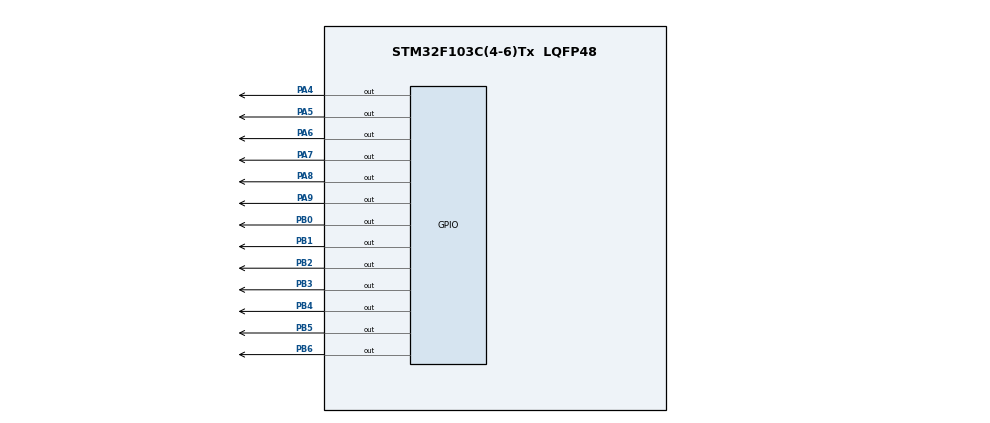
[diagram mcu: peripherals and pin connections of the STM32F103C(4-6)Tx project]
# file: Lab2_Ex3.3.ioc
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Mcu.Family=STM32F1
Mcu.Name=STM32F103C(4-6)Tx
Mcu.Package=LQFP48
NVIC.PriorityGroup=NVIC_PRIORITYGROUP_4
NVIC.TIM2_IRQn=true\:0\:0\:false\:false\:true\:true\:true
PA4.Signal=GPIO_Output
PA5.Signal=GPIO_Output
PA6.Signal=GPIO_Output
PA7.Signal=GPIO_Output
PA8.Signal=GPIO_Output
PA9.Signal=GPIO_Output
PB0.Signal=GPIO_Output
PB1.Signal=GPIO_Output
PB2.Signal=GPIO_Output
PB3.Signal=GPIO_Output
PB4.Signal=GPIO_Output
PB5.Signal=GPIO_Output
PB6.Signal=GPIO_Output
PD0-OSC_IN.Mode=HSE-External-Oscillator
PD0-OSC_IN.Signal=RCC_OSC_IN
PD1-OSC_OUT.Mode=HSE-External-Oscillator
PD1-OSC_OUT.Signal=RCC_OSC_OUT
ProjectManager.HeapSize=0x200
ProjectManager.StackSize=0x400
ProjectManager.TargetToolchain=STM32CubeIDE
RCC.APB1Freq_Value=8000000
RCC.APB2Freq_Value=8000000
TIM2.Period=9
TIM2.Prescaler=7999
VP_SYS_VS_ND.Mode=No_Debug
VP_TIM2_VS_ClockSourceINT.Mode=Internal
board=custom

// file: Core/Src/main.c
/* USER CODE BEGIN Header */
/**
  ******************************************************************************
  * @file           : main.c
  * @brief          : Main program body
  ******************************************************************************
  * @attention
  *
  * <h2><center>&copy; Copyright (c) 2021 STMicroelectronics.
  * All rights reserved.</center></h2>
  *
  * This software component is licensed by ST under BSD 3-Clause license,
  * the "License"; You may not use this file except in compliance with the
  * License. You may obtain a copy of the License at:
  *                        opensource.org/licenses/BSD-3-Clause
  *
  ******************************************************************************
  */
/* USER CODE END Header */
#include "main.h"

TIM_HandleTypeDef htim2;

void SystemClock_Config(void);
static void MX_GPIO_Init(void);
static void MX_TIM2_Init(void);

/* USER CODE BEGIN 0 */
uint8_t nums[10] = {0x01, 0x4F, 0x12, 0x06, 0x4C, 0x24, 0x20, 0x0F, 0x00, 0x04};

void display7SEG(uint8_t num) {
	HAL_GPIO_WritePin(GPIOB, GPIO_PIN_0, num & 0x40);
	HAL_GPIO_WritePin(GPIOB, GPIO_PIN_1, num & 0x20);
	HAL_GPIO_WritePin(GPIOB, GPIO_PIN_2, num & 0x10);
	HAL_GPIO_WritePin(GPIOB, GPIO_PIN_3, num & 0x08);
	HAL_GPIO_WritePin(GPIOB, GPIO_PIN_4, num & 0x04);
	HAL_GPIO_WritePin(GPIOB, GPIO_PIN_5, num & 0x02);
	HAL_GPIO_WritePin(GPIOB, GPIO_PIN_6, num & 0x01);
}

const int MAX_LED = 4;
int index_led = 0;
int led_buffer [4] = {1 , 2 , 3 , 4};
void update7SEG(int index) {
	switch (index) {
		case 0:
			// Display the first 7 SEG with led_buffer [0]
			display7SEG(nums[led_buffer[0]]);
			break;
		case 1:
			// Display the second 7 SEG with led_buffer [1]
			display7SEG(nums[led_buffer[1]]);
			break;
		case 2:
			// Display the third 7 SEG with led_buffer [2]
			display7SEG(nums[led_buffer[2]]);
			break;
		case 3:
			// Display the forth 7 SEG with led_buffer [3]
			display7SEG(nums[led_buffer[3]]);
			break;
		default:
			break;
	}
}
/* USER CODE END 0 */

int main(void)
{

  /* MCU Configuration--------------------------------------------------------*/

  /* Reset of all peripherals, Initializes the Flash interface and the Systick. */
  HAL_Init();

  /* Configure the system clock */
  SystemClock_Config();

  /* Initialize all configured peripherals */
  MX_GPIO_Init();
  MX_TIM2_Init();
  /* USER CODE BEGIN 2 */
  HAL_TIM_Base_Start_IT(&htim2);
  /* USER CODE END 2 */

  /* Infinite loop */
  while (1)
  {

  }
}

void SystemClock_Config(void)
{
  RCC_OscInitTypeDef RCC_OscInitStruct = {0};
  RCC_ClkInitTypeDef RCC_ClkInitStruct = {0};

  /** Initializes the RCC Oscillators according to the specified parameters
  * in the RCC_OscInitTypeDef structure.
  */
  RCC_OscInitStruct.OscillatorType = RCC_OSCILLATORTYPE_HSI;
  RCC_OscInitStruct.HSIState = RCC_HSI_ON;
  RCC_OscInitStruct.HSICalibrationValue = RCC_HSICALIBRATION_DEFAULT;
  RCC_OscInitStruct.PLL.PLLState = RCC_PLL_NONE;
  if (HAL_RCC_OscConfig(&RCC_OscInitStruct) != HAL_OK)
  {
    Error_Handler();
  }
  /** Initializes the CPU, AHB and APB buses clocks
  */
  RCC_ClkInitStruct.ClockType = RCC_CLOCKTYPE_HCLK|RCC_CLOCKTYPE_SYSCLK
                              |RCC_CLOCKTYPE_PCLK1|RCC_CLOCKTYPE_PCLK2;
  RCC_ClkInitStruct.SYSCLKSource = RCC_SYSCLKSOURCE_HSI;
  RCC_ClkInitStruct.AHBCLKDivider = RCC_SYSCLK_DIV1;
  RCC_ClkInitStruct.APB1CLKDivider = RCC_HCLK_DIV1;
  RCC_ClkInitStruct.APB2CLKDivider = RCC_HCLK_DIV1;

  if (HAL_RCC_ClockConfig(&RCC_ClkInitStruct, FLASH_LATENCY_0) != HAL_OK)
  {
    Error_Handler();
  }
}

static void MX_TIM2_Init(void)
{

  TIM_ClockConfigTypeDef sClockSourceConfig = {0};
  TIM_MasterConfigTypeDef sMasterConfig = {0};

  htim2.Instance = TIM2;
  htim2.Init.Prescaler = 7999;
  htim2.Init.CounterMode = TIM_COUNTERMODE_UP;
  htim2.Init.Period = 9;
  htim2.Init.ClockDivision = TIM_CLOCKDIVISION_DIV1;
  htim2.Init.AutoReloadPreload = TIM_AUTORELOAD_PRELOAD_DISABLE;
  if (HAL_TIM_Base_Init(&htim2) != HAL_OK)
  {
    Error_Handler();
  }
  sClockSourceConfig.ClockSource = TIM_CLOCKSOURCE_INTERNAL;
  if (HAL_TIM_ConfigClockSource(&htim2, &sClockSourceConfig) != HAL_OK)
  {
    Error_Handler();
  }
  sMasterConfig.MasterOutputTrigger = TIM_TRGO_RESET;
  sMasterConfig.MasterSlaveMode = TIM_MASTERSLAVEMODE_DISABLE;
  if (HAL_TIMEx_MasterConfigSynchronization(&htim2, &sMasterConfig) != HAL_OK)
  {
    Error_Handler();
  }

}

static void MX_GPIO_Init(void)
{
  GPIO_InitTypeDef GPIO_InitStruct = {0};

  /* GPIO Ports Clock Enable */
  __HAL_RCC_GPIOD_CLK_ENABLE();
  __HAL_RCC_GPIOA_CLK_ENABLE();
  __HAL_RCC_GPIOB_CLK_ENABLE();

  /*Configure GPIO pin Output Level */
  HAL_GPIO_WritePin(GPIOA, GPIO_PIN_4|GPIO_PIN_5|GPIO_PIN_6|GPIO_PIN_7
                          |GPIO_PIN_8|GPIO_PIN_9, GPIO_PIN_RESET);

  /*Configure GPIO pin Output Level */
  HAL_GPIO_WritePin(GPIOB, GPIO_PIN_0|GPIO_PIN_1|GPIO_PIN_2|GPIO_PIN_3
                          |GPIO_PIN_4|GPIO_PIN_5|GPIO_PIN_6, GPIO_PIN_RESET);

  /*Configure GPIO pins : PA4 PA5 PA6 PA7
                           PA8 PA9 */
  GPIO_InitStruct.Pin = GPIO_PIN_4|GPIO_PIN_5|GPIO_PIN_6|GPIO_PIN_7
                          |GPIO_PIN_8|GPIO_PIN_9;
  GPIO_InitStruct.Mode = GPIO_MODE_OUTPUT_PP;
  GPIO_InitStruct.Pull = GPIO_NOPULL;
  GPIO_InitStruct.Speed = GPIO_SPEED_FREQ_LOW;
  HAL_GPIO_Init(GPIOA, &GPIO_InitStruct);

  /*Configure GPIO pins : PB0 PB1 PB2 PB3
                           PB4 PB5 PB6 */
  GPIO_InitStruct.Pin = GPIO_PIN_0|GPIO_PIN_1|GPIO_PIN_2|GPIO_PIN_3
                          |GPIO_PIN_4|GPIO_PIN_5|GPIO_PIN_6;
  GPIO_InitStruct.Mode = GPIO_MODE_OUTPUT_PP;
  GPIO_InitStruct.Pull = GPIO_NOPULL;
  GPIO_InitStruct.Speed = GPIO_SPEED_FREQ_LOW;
  HAL_GPIO_Init(GPIOB, &GPIO_InitStruct);

}

/* USER CODE BEGIN 4 */
int counter = 400;
void HAL_TIM_PeriodElapsedCallback(TIM_HandleTypeDef *htim)
{
	counter--;
	if(counter == 399) {
		HAL_GPIO_WritePin(GPIOA, GPIO_PIN_4, GPIO_PIN_RESET);
		HAL_GPIO_WritePin(GPIOA, GPIO_PIN_5, GPIO_PIN_RESET);
		HAL_GPIO_WritePin(GPIOA, GPIO_PIN_6, GPIO_PIN_RESET);
		HAL_GPIO_WritePin(GPIOA, GPIO_PIN_7, GPIO_PIN_SET);
		HAL_GPIO_WritePin(GPIOA, GPIO_PIN_8, GPIO_PIN_SET);
		HAL_GPIO_WritePin(GPIOA, GPIO_PIN_9, GPIO_PIN_SET);
		update7SEG(index_led++);
	}
	else if(counter == 299) {
		HAL_GPIO_WritePin(GPIOA, GPIO_PIN_4, GPIO_PIN_SET);
		HAL_GPIO_WritePin(GPIOA, GPIO_PIN_5, GPIO_PIN_SET);
		HAL_GPIO_WritePin(GPIOA, GPIO_PIN_6, GPIO_PIN_SET);
		HAL_GPIO_WritePin(GPIOA, GPIO_PIN_7, GPIO_PIN_RESET);
		HAL_GPIO_WritePin(GPIOA, GPIO_PIN_8, GPIO_PIN_SET);
		HAL_GPIO_WritePin(GPIOA, GPIO_PIN_9, GPIO_PIN_SET);
		update7SEG(index_led++);
	}
	else if(counter == 199) {
		HAL_GPIO_WritePin(GPIOA, GPIO_PIN_4, GPIO_PIN_RESET);
		HAL_GPIO_WritePin(GPIOA, GPIO_PIN_5, GPIO_PIN_RESET);
		HAL_GPIO_WritePin(GPIOA, GPIO_PIN_6, GPIO_PIN_SET);
		HAL_GPIO_WritePin(GPIOA, GPIO_PIN_7, GPIO_PIN_SET);
		HAL_GPIO_WritePin(GPIOA, GPIO_PIN_8, GPIO_PIN_RESET);
		HAL_GPIO_WritePin(GPIOA, GPIO_PIN_9, GPIO_PIN_SET);
		update7SEG(index_led++);
	}
	else if(counter == 99) {
		HAL_GPIO_WritePin(GPIOA, GPIO_PIN_4, GPIO_PIN_SET);
		HAL_GPIO_WritePin(GPIOA, GPIO_PIN_5, GPIO_PIN_SET);
		HAL_GPIO_WritePin(GPIOA, GPIO_PIN_6, GPIO_PIN_SET);
		HAL_GPIO_WritePin(GPIOA, GPIO_PIN_7, GPIO_PIN_SET);
		HAL_GPIO_WritePin(GPIOA, GPIO_PIN_8, GPIO_PIN_SET);
		HAL_GPIO_WritePin(GPIOA, GPIO_PIN_9, GPIO_PIN_RESET);
		update7SEG(index_led++);
	}
	else if(counter == 0){
		counter = 400;
		index_led = 0;
	}
}
/* USER CODE END 4 */

void Error_Handler(void)
{
  __disable_irq();
  while (1)
  {
  }
}

/************************ (C) COPYRIGHT STMicroelectronics *****END OF FILE****/
